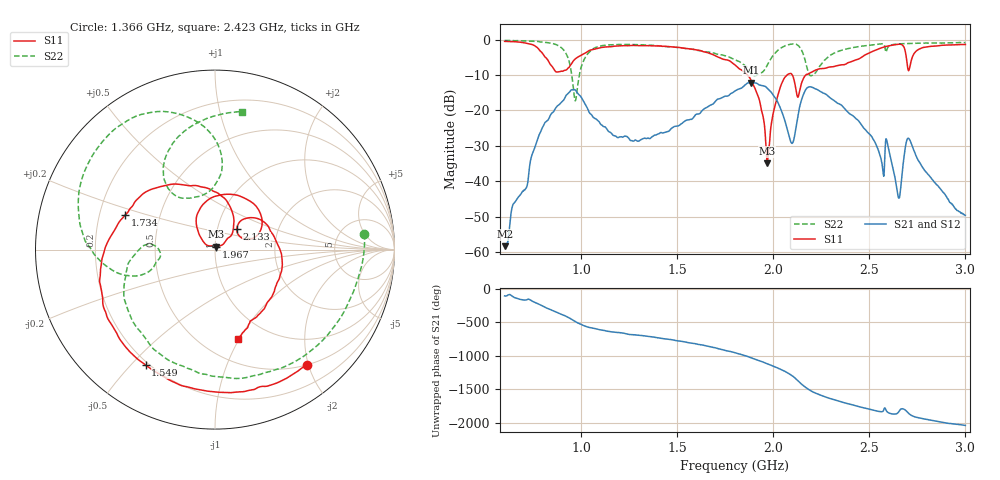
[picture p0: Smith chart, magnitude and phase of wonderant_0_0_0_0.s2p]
#  HZ  S  RI  R  50.00
! Rohde & Schwarz ZVB8 2Ports - Version 2.81 - 1145.1010k08 SN: 100113
! Date: 2016-05-17 22:36:38
! Measurements: S11 S21 S12 S22
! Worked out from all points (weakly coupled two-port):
!   1000 points, 600 MHz to 3 GHz, reference 50 ohm
!   highest |S21| = -12.10 dB at 1.885 GHz (marker M1); lowest = -58.3 dB at 602.4 MHz (marker M2)
!   lowest |S11| = -34.9 dB at 1.967 GHz (marker M3), VSWR 1.04, Z = 50.5 + j1.73 ohm
!   |S11| at or under -10 dB: 1.865 GHz to 2.071 GHz (205.7 MHz wide, 10.5 % of centre); 2.099 GHz to 2.168 GHz (69.39 MHz wide, 3.25 % of centre)
!   |S22| runs from -17.3 to -0.2 dB; largest |S21 - S12| = 0.002
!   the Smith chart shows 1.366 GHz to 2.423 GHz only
!   S11 on the Smith chart (normalised r, x): 1.366 GHz: 0.51, -1.97; 1.549 GHz: 0.19, -0.55; 1.734 GHz: 0.31, +0.17; 1.967 GHz: 1.01, +0.03; 2.133 GHz: 1.24, +0.30; 2.423 GHz: 0.73, -0.98
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6e8  -0.8221 0.4733  -0.000359 -0.00118  -0.00038 -0.00116  -0.9498 0.2264
6.024024e8  -0.8151 0.4837  -0.00039 -0.00115  -0.000408 -0.00117  -0.9467 0.2369
8.33033e8  0.1902 0.4314  0.0426 0.0669  0.0426 0.067  -0.191 0.8829
9.267267e8  -0.0054 0.388  0.0807 -0.1493  0.0811 -0.1489  0.4462 0.3784
9.675676e8  0.0131 0.5339  -0.1215 -0.1527  -0.1213 -0.1528  0.0147 -0.136
1.001201e9  0.1299 0.5944  -0.1506 -0.00603  -0.1503 -0.00653  -0.4176 0.0967
1.140541e9  0.6978 0.3818  0.00542 0.0505  0.00545 0.0508  0.0696 0.8403
1.366366e9  0.5111 -0.6408  0.0421 0.00203  0.0421 0.0021  0.8326 0.0875
1.4e9  0.3661 -0.7331  0.0454 -0.00989  0.0456 -0.00976  0.8146 -0.0997
1.548949e9  -0.3859 -0.6432  0.0119 -0.0721  0.0121 -0.0721  0.3074 -0.6789
1.733934e9  -0.4991 0.1942  -0.1504 0.025  -0.1504 0.0243  -0.4574 -0.4022
1.801201e9  -0.2435 0.3639  -0.1045 0.1588  -0.105 0.1582  -0.4976 -0.1447
1.885285e9  0.0779 0.2505  0.1678 0.1832  0.167 0.1838  -0.328 0.0169
1.966967e9  0.00571 0.0171  0.1612 -0.1317  0.162 -0.1307  -0.4076 -0.1406
2.053453e9  -0.0442 0.2727  -0.0654 -0.0475  -0.0652 -0.0475  -0.7619 0.2509
2.132733e9  0.1212 0.117  0.0629 0.078  0.0625 0.0783  -0.2607 0.7673
2.2e9  0.3468 0.034  -0.00801 -0.2135  -0.00742 -0.2135  -0.1064 0.2932
2.423423e9  0.1258 -0.4984  0.0433 0.0673  0.0429 0.0676  0.1515 0.7667
2.601201e9  -0.5481 -0.6082  0.016 -0.0225  0.0162 -0.0225  0.6547 0.4759
2.651652e9  -0.7798 -0.3717  0.00435 -0.00387  0.00442 -0.00382  0.8115 0.3181
2.704505e9  -0.3534 -0.0903  0.0199 -0.0352  0.0203 -0.0352  0.8752 0.1249
3e9  -0.6498 0.5567  -0.00158 0.00289  -0.00155 0.00281  0.5428 -0.7313
